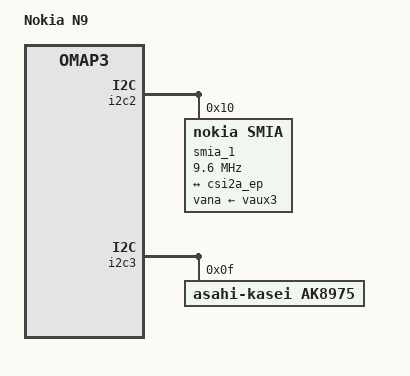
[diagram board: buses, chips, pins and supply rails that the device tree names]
/*
 * omap3-n9.dts - Device Tree file for Nokia N9
 *
 * Written by: Aaro Koskinen <aaro.koskinen@iki.fi>
 *
 * This program is free software; you can redistribute it and/or modify
 * it under the terms of the GNU General Public License version 2 as
 * published by the Free Software Foundation.
 */

/dts-v1/;

#include "omap3-n950-n9.dtsi"
#include <dt-bindings/input/input.h>

/ {
	model = "Nokia N9";
	compatible = "nokia,omap3-n9", "ti,omap36xx", "ti,omap3";
};

&i2c2 {
	smia_1: camera@10 {
		compatible = "nokia,smia";
		reg = <0x10>;
		/* No reset gpio */
		vana-supply = <&vaux3>;
		clocks = <&isp 0>;
		clock-frequency = <9600000>;
		nokia,nvm-size = <(16 * 64)>;
		flash-leds = <&as3645a_flash &as3645a_indicator>;
		port {
			smia_1_1: endpoint {
				link-frequencies = /bits/ 64 <199200000 210000000 499200000>;
				clock-lanes = <0>;
				data-lanes = <1 2>;
				remote-endpoint = <&csi2a_ep>;
			};
		};
	};
};

&i2c3 {
	ak8975@0f {
		compatible = "asahi-kasei,ak8975";
		reg = <0x0f>;
	};
};

&isp {
	vdd-csiphy1-supply = <&vaux2>;
	vdd-csiphy2-supply = <&vaux2>;
	ports {
		port@2 {
			reg = <2>;
			csi2a_ep: endpoint {
				remote-endpoint = <&smia_1_1>;
				clock-lanes = <2>;
				data-lanes = <1 3>;
				crc = <1>;
				lane-polarities = <1 1 1>;
			};
		};
	};
};

&modem {
	compatible = "nokia,n9-modem";
};

&lis302 {
	st,axis-x = <1>;    /* LIS3_DEV_X */
	st,axis-y = <(-2)>; /* LIS3_INV_DEV_Y */
	st,axis-z = <(-3)>; /* LIS3_INV_DEV_Z */

	st,min-limit-x = <(-46)>;
	st,min-limit-y = <3>;
	st,min-limit-z = <3>;

	st,max-limit-x = <(-3)>;
	st,max-limit-y = <46>;
	st,max-limit-z = <46>;
};

&twl_keypad {
	linux,keymap = < MATRIX_KEY(6, 8, KEY_VOLUMEUP)
			 MATRIX_KEY(7, 8, KEY_VOLUMEDOWN)
			 >;
};
